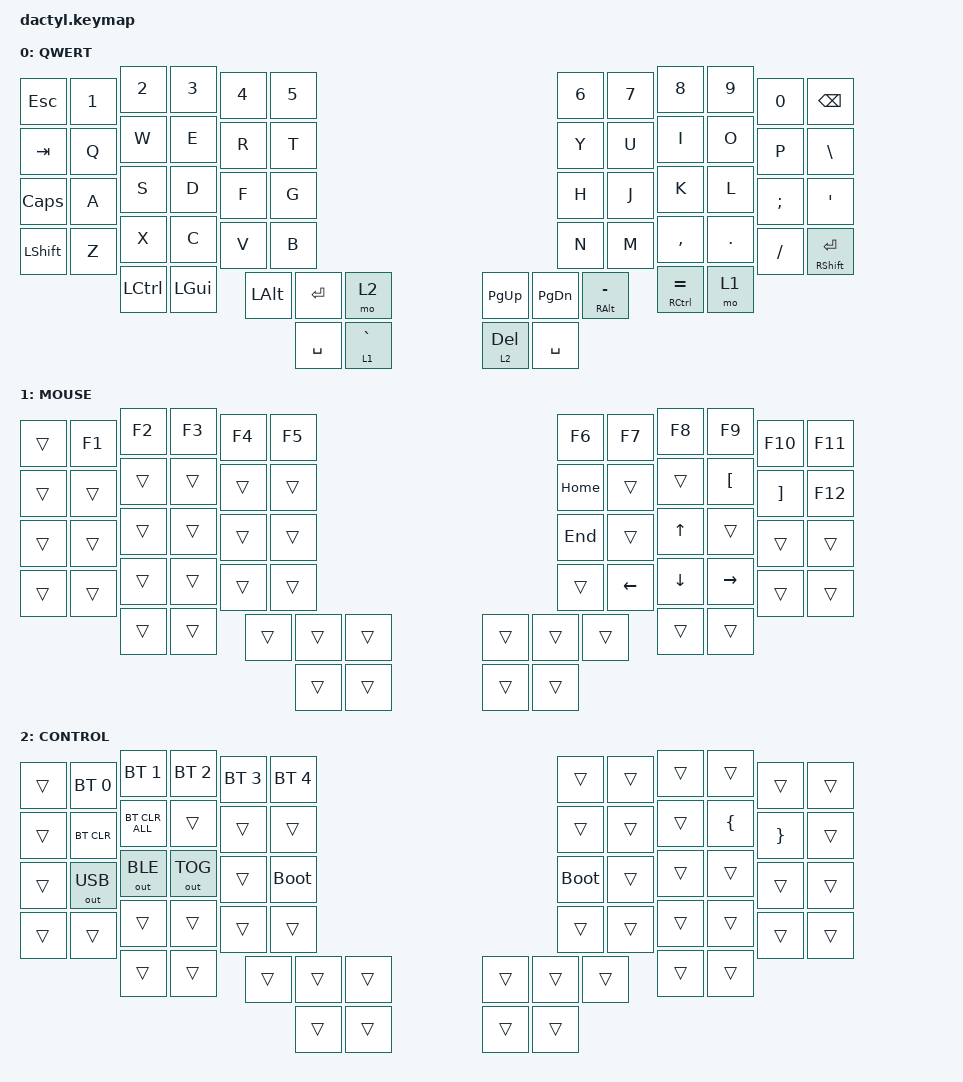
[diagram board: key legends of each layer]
#include <behaviors.dtsi>
#include <dt-bindings/zmk/bt.h>
#include <dt-bindings/zmk/keys.h>
#include <dt-bindings/zmk/outputs.h>

&lt {
    flavor = "tap-preferred";
    quick-tap-ms = <180>;
};

&mt {
    quick-tap-ms = <180>;
    flavor = "tap-preferred";
};

/ {
    keymap {
        compatible = "zmk,keymap";

        LAYER0 {
            bindings = <
&kp ESC     &kp N1     &kp N2    &kp N3    &kp N4     &kp N5       &kp N6     &kp N7     &kp N8          &kp N9           &kp N0     &kp BACKSPACE
&kp TAB     &kp Q      &kp W     &kp E     &kp R      &kp T        &kp Y      &kp U      &kp I           &kp O            &kp P      &kp BSLH
&kp CAPS    &kp A      &kp S     &kp D     &kp F      &kp G        &kp H      &kp J      &kp K           &kp L            &kp SEMI   &kp SQT
&kp LSHIFT  &kp Z      &kp X     &kp C     &kp V      &kp B        &kp N      &kp M      &kp COMMA       &kp DOT          &kp SLASH  &mt RSHIFT ENTER
            &kp LCTRL  &kp LGUI  &kp LALT  &kp ENTER  &mo 2        &kp PG_UP  &kp PG_DN  &mt RALT MINUS  &mt RCTRL EQUAL  &mo 1
                                           &kp SPACE  &lt 1 GRAVE  &lt 2 DEL  &kp SPACE
            >;

            display-name = "QWERT";
        };

        layer_1 {
            bindings = <
&trans  &kp F1  &kp F2  &kp F3  &kp F4  &kp F5  &kp F6    &kp F7    &kp F8    &kp F9     &kp F10   &kp F11
&trans  &trans  &trans  &trans  &trans  &trans  &kp HOME  &trans    &trans    &kp LBKT   &kp RBKT  &kp F12
&trans  &trans  &trans  &trans  &trans  &trans  &kp END   &trans    &kp UP    &trans     &trans    &trans
&trans  &trans  &trans  &trans  &trans  &trans  &trans    &kp LEFT  &kp DOWN  &kp RIGHT  &trans    &trans
        &trans  &trans  &trans  &trans  &trans  &trans    &trans    &trans    &trans     &trans
                                &trans  &trans  &trans    &trans
            >;

            display-name = "MOUSE";
        };

        layer_2 {
            display-name = "CONTROL";
            bindings = <
&trans  &bt BT_SEL 0  &bt BT_SEL 1    &bt BT_SEL 2  &bt BT_SEL 3  &bt BT_SEL 4  &trans       &trans  &trans  &trans    &trans    &trans
&trans  &bt BT_CLR    &bt BT_CLR_ALL  &trans        &trans        &trans        &trans       &trans  &trans  &kp LBRC  &kp RBRC  &trans
&trans  &out OUT_USB  &out OUT_BLE    &out OUT_TOG  &trans        &bootloader   &bootloader  &trans  &trans  &trans    &trans    &trans
&trans  &trans        &trans          &trans        &trans        &trans        &trans       &trans  &trans  &trans    &trans    &trans
        &trans        &trans          &trans        &trans        &trans        &trans       &trans  &trans  &trans    &trans
                                                    &trans        &trans        &trans       &trans
            >;

        };
    };
};
